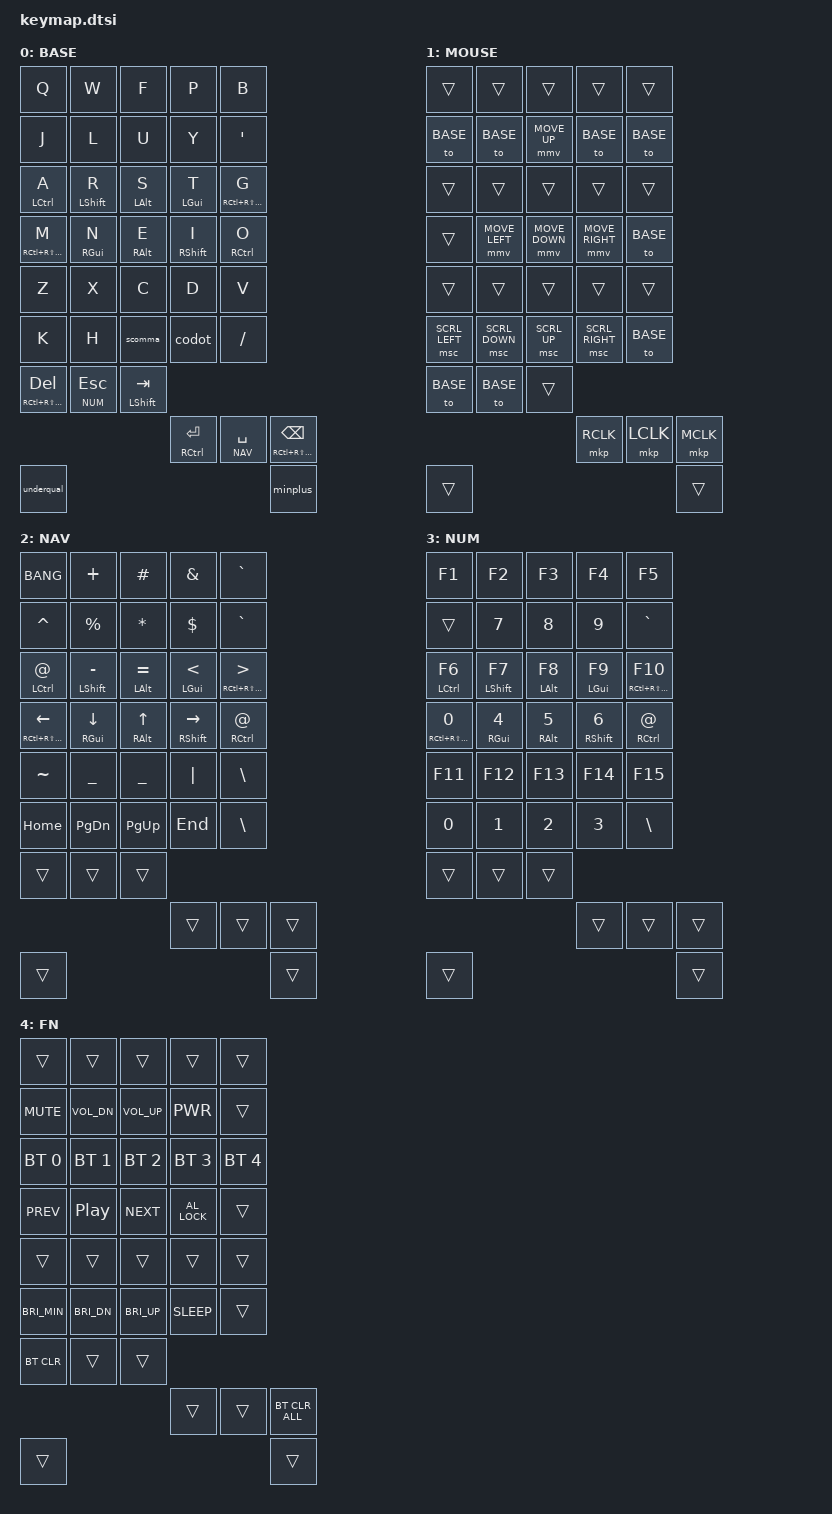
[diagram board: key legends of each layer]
#include <behaviors.dtsi>
#include <dt-bindings/zmk/keys.h>
#include <dt-bindings/zmk/bt.h>
#include <dt-bindings/zmk/ext_power.h>
#include <dt-bindings/zmk/pointing.h>

#define QUICK_TAP_MS 200
#define HRM_TAP_MS 280
#define MEH RC(RS(RALT))
#define HYPER LC(LS(LA(LGUI)))
#define BASE 0
#define MOUSE 1
#define NAV 2
#define NUM 3
#define FN 4
#define LEFT_KEYS      \
        0  1  2  3  4  \
        10 11 12 13 14 \
        20 21 22 23 24
#define RIGHT_KEYS     \
        5  6  7  8  9  \
        15 16 17 18 19 \
        25 26 27 28 29
#define THUMB_KEYS 30 31 32 33 34 35

&mt {
  quick-tap-ms = <QUICK_TAP_MS>;
};

&lt {
  quick-tap-ms = <QUICK_TAP_MS>;
};

/ {
combos {
  compatible = "zmk,combos";
  left_middle_up {
    key-positions = <2 12>;
    bindings = <&kp LPAR>;
  };
  left_index_up {
    key-positions = <3 13>;
    bindings = <&kp RPAR>;
  };
  left_middle_down {
    key-positions = <12 22>;
    bindings = <&larrow>;
  };
  left_index_down {
    key-positions = <13 23>;
    bindings = <&pipe>;
  };
  right_index_up {
    key-positions = <6 16>;
    bindings = <&kp LBKT>;
  };
  right_middle_up {
    key-positions = <7 17>;
    bindings = <&kp RBKT>;
  };
  right_index_down {
    key-positions = <16 26>;
    bindings = <&kp LBRC>;
  };
  right_middle_down {
    key-positions = <17 27>;
    bindings = <&kp RBRC>;
  };
  down_arrow {
    key-positions = <16 34>;
    bindings = <&mo_kp NAV DOWN>;
    require-prior-idle-ms = <120>;
    slow-release; // required for avoiding ⬇️ jjjj when holding space
  };
  up_arrow {
    key-positions = <17 34>;
    bindings = <&mo_kp NAV UP>;
    require-prior-idle-ms = <120>;
    slow-release;
  };
  right_arrow {
    key-positions = <18 34>;
    bindings = <&mo_kp NAV RIGHT>;
    require-prior-idle-ms = <120>;
    slow-release;
  };
  ctrl_space {
    key-positions = <32 33>;
    timeout-ms = <75>;
    bindings = <&mt RC(LSHFT) RC(SPC)>;
  };
  tog_mouse {
    key-positions = <6 7 8>;
    bindings = <&tog MOUSE>;
  };
};

macros {
  mo_kp: mo_kp {
    compatible = "zmk,behavior-macro-two-param";
    wait-ms = <0>;
    tap-ms = <0>;
    #binding-cells = <2>;
    bindings =
      <&macro_param_1to1>,
      <&macro_press &mo MACRO_PLACEHOLDER>,
      <&macro_param_2to1>,
      <&macro_tap &kp MACRO_PLACEHOLDER>,
      <&macro_pause_for_release>,
      <&macro_param_1to1>,
      <&macro_release &mo MACRO_PLACEHOLDER>;
  };
  pipe: pipe {
    compatible = "zmk,behavior-macro";
    #binding-cells = <0>;
    bindings
        = <&macro_tap &kp PIPE &kp GT>;
  };
  larrow: larrow {
    compatible = "zmk,behavior-macro";
    #binding-cells = <0>;
    bindings
        = <&macro_tap &kp LT &kp MINUS>;
  };
};

behaviors {
  lhm: left_home_row_mod {
    compatible = "zmk,behavior-hold-tap";
    #binding-cells = <2>;
    flavor = "balanced";
    tapping-term-ms = <HRM_TAP_MS>;
    quick-tap-ms = <QUICK_TAP_MS>;
    bindings = <&kp>, <&kp>;
    hold-trigger-on-release;
    require-prior-idle-ms = <120>;
    hold-trigger-key-positions = <RIGHT_KEYS THUMB_KEYS>;
  };
  rhm: right_home_row_mod {
    compatible = "zmk,behavior-hold-tap";
    #binding-cells = <2>;
    flavor = "balanced";
    tapping-term-ms = <HRM_TAP_MS>;
    quick-tap-ms = <QUICK_TAP_MS>;
    bindings = <&kp>, <&kp>;
    hold-trigger-on-release;
    require-prior-idle-ms = <120>;
    hold-trigger-key-positions = <LEFT_KEYS THUMB_KEYS>;
  };
  ht: hold_tap {
    compatible = "zmk,behavior-hold-tap";
    #binding-cells = <2>;
    flavor = "tap-preferred";
    tapping-term-ms = <135>;
    quick-tap-ms = <0>;
    bindings = <&kp>, <&kp>;
  };
  lhp: layer_hold_preferred {
    compatible = "zmk,behavior-hold-tap";
    #binding-cells = <2>;
    flavor = "hold-preferred";
    tapping-term-ms = <145>;
    quick-tap-ms = <QUICK_TAP_MS>;
    bindings = <&mo>, <&kp>;
  };
  mtb: mod_tap_balanced {
    compatible = "zmk,behavior-hold-tap";
    #binding-cells = <2>;
    flavor = "balanced";
    tapping-term-ms = <145>;
    quick-tap-ms = <QUICK_TAP_MS>;
    bindings = <&kp>, <&kp>;
  };
  ltb: layer_tap_balanced {
    compatible = "zmk,behavior-hold-tap";
    #binding-cells = <2>;
    flavor = "balanced";
    tapping-term-ms = <145>;
    quick-tap-ms = <175>;
    require-prior-idle-ms = <120>;
    bindings = <&mo>, <&kp>;
  };
  mqt: mod_quicker_tap {
    compatible = "zmk,behavior-hold-tap";
    #binding-cells = <2>;
    flavor = "hold-preferred";
    tapping-term-ms = <145>;
    quick-tap-ms = <130>;
    bindings = <&kp>, <&kp>;
  };
  scomma: comma_semicolon {
    compatible = "zmk,behavior-mod-morph";
    #binding-cells = <0>;
    bindings = <&kp COMMA>, <&kp SEMI>;
    mods = <(MOD_LSFT|MOD_RSFT)>;
  };
  codot: dot_colon {
    compatible = "zmk,behavior-mod-morph";
    #binding-cells = <0>;
    bindings = <&kp DOT>, <&kp COLON>;
    mods = <(MOD_LSFT|MOD_RSFT)>;
  };
  minplus: minus_plus {
    compatible = "zmk,behavior-mod-morph";
    #binding-cells = <0>;
    bindings = <&kp MINUS>, <&kp PLUS>;
    mods = <(MOD_LSFT|MOD_RSFT)>;
  };
  underqual: underscore_equal {
    compatible = "zmk,behavior-mod-morph";
    #binding-cells = <0>;
    bindings = <&kp UNDER>, <&kp EQUAL>;
    mods = <(MOD_LSFT|MOD_RSFT)>;
  };
};

conditional_layers {
  compatible = "zmk,conditional-layers";
  tri_layer {
    if-layers = <NUM NAV>;
    then-layer = <FN>;
  };
};

keymap {
  compatible = "zmk,keymap";

  BASE {
    // COLEMAK-DH
    bindings = <
      // ROW 1
      &kp Q            &kp W            &kp F            &kp P             &kp B
      &kp J            &kp L            &kp U            &kp Y             &kp SQT
      // ROW 2
      &lhm LCTRL A     &lhm LSHFT R     &lhm LALT S      &lhm LGUI T       &lhm MEH G
      &rhm MEH M       &rhm RGUI N      &rhm RALT E      &rhm RSHFT I      &rhm RCTRL O
      // ROW 3
      &kp Z            &kp X            &kp C            &kp D             &kp V
      &kp K            &kp H            &scomma          &codot            &kp FSLH
      // THUMBS
      &mtb MEH DEL     &lhp NUM ESC    &mt LSHFT TAB
                                                         &mqt RCTRL RET    &ltb NAV SPC     &mtb MEH BSPC
      // PINKIES
      &underqual                                                                            &minplus
    >;
  };

  MOUSE {
    bindings = <
      // ROW 1
      &trans           &trans           &trans           &trans            &trans
      &to BASE         &to BASE         &mmv MOVE_UP     &to BASE          &to BASE
      // ROW 2
      &trans           &trans           &trans           &trans            &trans
      &trans           &mmv MOVE_LEFT   &mmv MOVE_DOWN   &mmv MOVE_RIGHT   &to BASE
      // ROW 3
      &trans           &trans           &trans           &trans            &trans
      &msc SCRL_LEFT   &msc SCRL_DOWN   &msc SCRL_UP     &msc SCRL_RIGHT   &to BASE
      // THUMBS
      &to BASE         &to BASE         &trans
                                                         &mkp RCLK         &mkp LCLK        &mkp MCLK
      // PINKIES
      &trans                                                                                &trans
    >;
  };

  NAV {
    bindings = <
      // ROW 1
      &kp BANG         &kp PLUS         &kp HASH         &kp AMPS          &kp GRAVE
      &kp CARET        &kp PERCENT      &kp STAR         &kp DOLLAR        &kp GRAVE
      // ROW 2
      &lhm LCTRL AT    &lhm LSHFT MINUS &lhm LALT EQUAL  &lhm LGUI LT      &lhm MEH GT
      &rhm MEH LEFT    &rhm RGUI DOWN   &rhm RALT UP     &rhm RSHFT RIGHT  &rhm RCTRL AT
      // ROW 3
      &kp TILDE        &kp UNDER        &kp UNDER        &kp PIPE          &kp BSLH
      &kp HOME         &kp PG_DN        &kp PG_UP        &kp END           &kp BSLH
      // THUMBS
      &trans           &trans           &trans
                                                         &trans            &trans           &trans
      // PINKIES
      &trans                                                                                &trans
    >;
  };

  NUM {
    bindings = <
      // ROW 1
      &kp F1           &kp F2           &kp F3           &kp F4            &kp F5
      &trans           &kp N7           &kp N8           &kp N9            &kp GRAVE
      // ROW 2
      &lhm LCTRL F6    &lhm LSHFT F7    &lhm LALT F8     &lhm LGUI F9      &lhm MEH F10
      &rhm MEH N0      &rhm RGUI N4     &rhm RALT N5     &rhm RSHFT N6     &rhm RCTRL AT
      // ROW 3
      &kp F11          &kp F12          &kp F13          &kp F14           &kp F15
      &kp N0           &kp N1           &kp N2           &kp N3            &kp BSLH
      // THUMBS
      &trans           &trans           &trans
                                                         &trans            &trans           &trans
      // PINKIES
      &trans                                                                                &trans
    >;
  };

  FN {
    bindings = <
      // ROW 1
      &trans           &trans           &trans           &trans            &trans
      &kp C_MUTE       &kp C_VOL_DN     &kp C_VOL_UP     &kp C_PWR         &trans
      // ROW 2
      &bt BT_SEL 0     &bt BT_SEL 1     &bt BT_SEL 2     &bt BT_SEL 3      &bt BT_SEL 4
      &kp C_PREV       &kp C_PP         &kp C_NEXT       &kp C_AL_LOCK     &trans
      // ROW 3
      &trans           &trans           &trans           &trans            &trans
      &kp C_BRI_MIN    &kp C_BRI_DN     &kp C_BRI_UP     &kp C_SLEEP       &trans
      // THUMBS
      &bt BT_CLR       &trans           &trans
                                                         &trans            &trans           &bt BT_CLR_ALL
      // PINKIES
      &trans                                                                                &trans
    >;
  };
};
};
